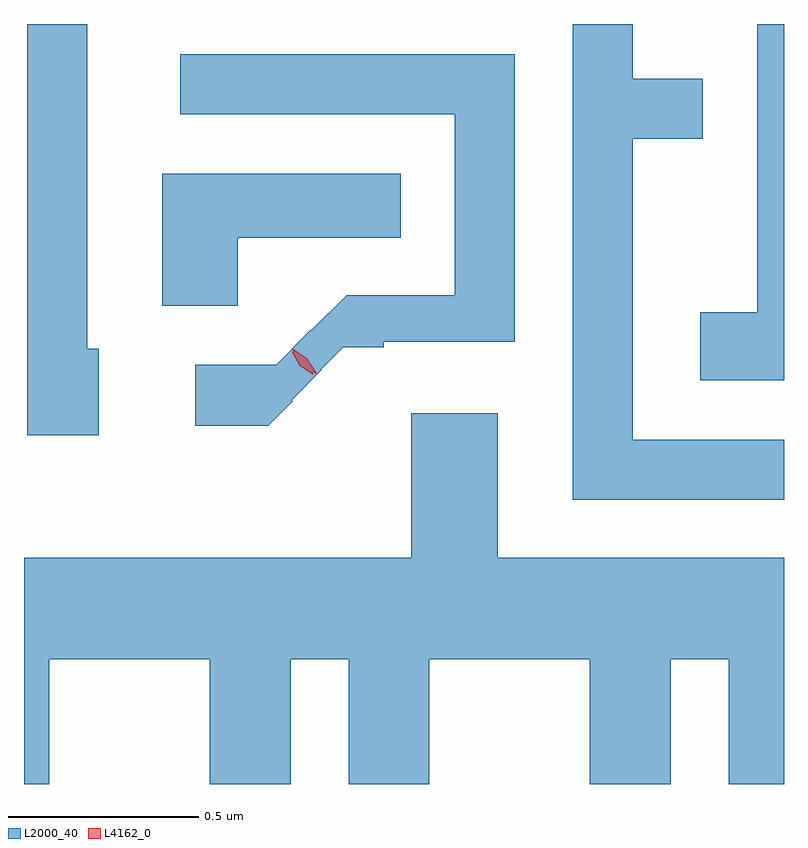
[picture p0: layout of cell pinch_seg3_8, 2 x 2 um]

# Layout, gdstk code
import gdstk
lib = gdstk.Library(unit=1e-6, precision=1e-09)
def P(c, l, *ps):  # polygons
    for p in ps: c.add(gdstk.Polygon(p, *l))
L2000_40 = (2000, 40)
L4162_0 = (4162, 0)

pinch_seg3_8 = lib.new_cell('pinch_seg3_8')
P(pinch_seg3_8, L2000_40, [(832.612,1167.648),(832.541,1167.648),(832.541,1166.889),(832.391,1166.889),(832.391,1166.711),(832.612,1166.711)],
  [(830.809,1166.794),(830.779,1166.794),(830.779,1167.648),(830.621,1167.648),(830.621,1166.566),(830.809,1166.566)],
  [(832.612,1166.554),(832.214,1166.554),(832.214,1167.346),(832.398,1167.346),(832.398,1167.504),(832.214,1167.504),(832.214,1167.648),(832.056,1167.648),(832.056,1166.396),(832.612,1166.396)],
  [(831.319,1166.655),(831.317,1166.658),(831.396,1166.738),(831.394,1166.739),(831.452,1166.797),(831.559,1166.797),(831.559,1166.812),(831.904,1166.812),(831.904,1167.569),(831.023,1167.569),(831.023,1167.411),(831.746,1167.411),(831.746,1166.934),(831.461,1166.934),(831.368,1166.842),(831.367,1166.843),(831.276,1166.751),(831.063,1166.751),(831.063,1166.591),(831.255,1166.591)],
  [(831.174,1167.086),(831.603,1167.086),(831.603,1167.254),(830.976,1167.254),(830.976,1166.906),(831.174,1166.906)],
  [(830.679,1165.976),(831.101,1165.976),(831.101,1165.648),(831.314,1165.648),(831.314,1165.976),(831.466,1165.976),(831.466,1165.648),(831.679,1165.648),(831.679,1165.976),(832.101,1165.976),(832.101,1165.648),(832.314,1165.648),(832.314,1165.976),(832.466,1165.976),(832.466,1165.648),(832.612,1165.648),(832.612,1166.244),(831.859,1166.244),(831.859,1166.624),(831.631,1166.624),(831.631,1166.244),(830.612,1166.244),(830.612,1165.648),(830.679,1165.648)])
P(pinch_seg3_8, L4162_0, [(831.381,1166.727),(831.343,1166.753),(831.318,1166.792),(831.318,1166.793),(831.319,1166.793),(831.357,1166.767),(831.382,1166.727),(831.382,1166.727)],
  [(831.372,1166.726),(831.338,1166.749),(831.318,1166.784),(831.318,1166.785),(831.319,1166.785),(831.353,1166.762),(831.373,1166.727),(831.373,1166.726)])

lib.write_gds('pinch_seg3_8.gds')
